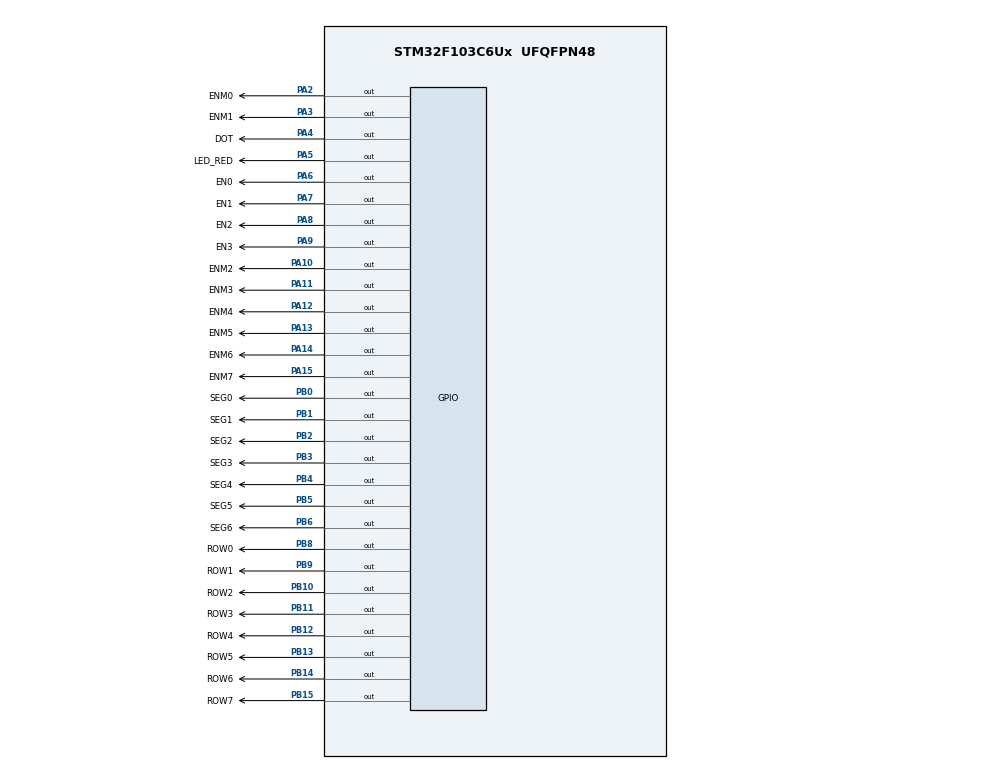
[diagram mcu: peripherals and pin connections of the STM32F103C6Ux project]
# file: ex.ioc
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Mcu.Family=STM32F1
Mcu.Name=STM32F103C6Ux
Mcu.Package=UFQFPN48
NVIC.PriorityGroup=NVIC_PRIORITYGROUP_4
NVIC.TIM2_IRQn=true\:0\:0\:false\:false\:true\:true\:true
PA10.GPIO_Label=ENM2
PA10.Signal=GPIO_Output
PA11.GPIO_Label=ENM3
PA11.Signal=GPIO_Output
PA12.GPIO_Label=ENM4
PA12.Signal=GPIO_Output
PA13.GPIO_Label=ENM5
PA13.Signal=GPIO_Output
PA14.GPIO_Label=ENM6
PA14.Signal=GPIO_Output
PA15.GPIO_Label=ENM7
PA15.Signal=GPIO_Output
PA2.GPIO_Label=ENM0
PA2.Signal=GPIO_Output
PA3.GPIO_Label=ENM1
PA3.Signal=GPIO_Output
PA4.GPIO_Label=DOT
PA4.Signal=GPIO_Output
PA5.GPIO_Label=LED_RED
PA5.Signal=GPIO_Output
PA6.GPIO_Label=EN0
PA6.Signal=GPIO_Output
PA7.GPIO_Label=EN1
PA7.Signal=GPIO_Output
PA8.GPIO_Label=EN2
PA8.Signal=GPIO_Output
PA9.GPIO_Label=EN3
PA9.Signal=GPIO_Output
PB0.GPIO_Label=SEG0
PB0.Signal=GPIO_Output
PB1.GPIO_Label=SEG1
PB1.Signal=GPIO_Output
PB10.GPIO_Label=ROW2
PB10.Signal=GPIO_Output
PB11.GPIO_Label=ROW3
PB11.Signal=GPIO_Output
PB12.GPIO_Label=ROW4
PB12.Signal=GPIO_Output
PB13.GPIO_Label=ROW5
PB13.Signal=GPIO_Output
PB14.GPIO_Label=ROW6
PB14.Signal=GPIO_Output
PB15.GPIO_Label=ROW7
PB15.Signal=GPIO_Output
PB2.GPIO_Label=SEG2
PB2.Signal=GPIO_Output
PB3.GPIO_Label=SEG3
PB3.Signal=GPIO_Output
PB4.GPIO_Label=SEG4
PB4.Signal=GPIO_Output
PB5.GPIO_Label=SEG5
PB5.Signal=GPIO_Output
PB6.GPIO_Label=SEG6
PB6.Signal=GPIO_Output
PB8.GPIO_Label=ROW0
PB8.Signal=GPIO_Output
PB9.GPIO_Label=ROW1
PB9.Signal=GPIO_Output
ProjectManager.HeapSize=0x200
ProjectManager.StackSize=0x400
ProjectManager.TargetToolchain=STM32CubeIDE
RCC.APB1Freq_Value=8000000
RCC.APB2Freq_Value=8000000
TIM2.Period=9
TIM2.Prescaler=7999
VP_SYS_VS_ND.Mode=No_Debug
VP_TIM2_VS_ClockSourceINT.Mode=Internal
board=custom

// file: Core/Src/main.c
/* USER CODE BEGIN Header */
/**
  ******************************************************************************
  * @file           : main.c
  * @brief          : Main program body
  ******************************************************************************
  * @attention
  *
  * <h2><center>&copy; Copyright (c) 2023 STMicroelectronics.
  * All rights reserved.</center></h2>
  *
  * This software component is licensed by ST under BSD 3-Clause license,
  * the "License"; You may not use this file except in compliance with the
  * License. You may obtain a copy of the License at:
  *                        opensource.org/licenses/BSD-3-Clause
  *
  ******************************************************************************
  */
/* USER CODE END Header */
#include "main.h"

TIM_HandleTypeDef htim2;

void SystemClock_Config(void);
static void MX_GPIO_Init(void);
static void MX_TIM2_Init(void);

int main(void)
{

  /* MCU Configuration--------------------------------------------------------*/

  /* Reset of all peripherals, Initializes the Flash interface and the Systick. */
  HAL_Init();

  /* Configure the system clock */
  SystemClock_Config();

  /* Initialize all configured peripherals */
  MX_GPIO_Init();
  MX_TIM2_Init();
  /* USER CODE BEGIN 2 */
  HAL_TIM_Base_Start_IT(&htim2);
  /* USER CODE END 2 */

  /* Infinite loop */
  while (1)
  {

  }
}

void SystemClock_Config(void)
{
  RCC_OscInitTypeDef RCC_OscInitStruct = {0};
  RCC_ClkInitTypeDef RCC_ClkInitStruct = {0};

  /** Initializes the RCC Oscillators according to the specified parameters
  * in the RCC_OscInitTypeDef structure.
  */
  RCC_OscInitStruct.OscillatorType = RCC_OSCILLATORTYPE_HSI;
  RCC_OscInitStruct.HSIState = RCC_HSI_ON;
  RCC_OscInitStruct.HSICalibrationValue = RCC_HSICALIBRATION_DEFAULT;
  RCC_OscInitStruct.PLL.PLLState = RCC_PLL_NONE;
  if (HAL_RCC_OscConfig(&RCC_OscInitStruct) != HAL_OK)
  {
    Error_Handler();
  }
  /** Initializes the CPU, AHB and APB buses clocks
  */
  RCC_ClkInitStruct.ClockType = RCC_CLOCKTYPE_HCLK|RCC_CLOCKTYPE_SYSCLK
                              |RCC_CLOCKTYPE_PCLK1|RCC_CLOCKTYPE_PCLK2;
  RCC_ClkInitStruct.SYSCLKSource = RCC_SYSCLKSOURCE_HSI;
  RCC_ClkInitStruct.AHBCLKDivider = RCC_SYSCLK_DIV1;
  RCC_ClkInitStruct.APB1CLKDivider = RCC_HCLK_DIV1;
  RCC_ClkInitStruct.APB2CLKDivider = RCC_HCLK_DIV1;

  if (HAL_RCC_ClockConfig(&RCC_ClkInitStruct, FLASH_LATENCY_0) != HAL_OK)
  {
    Error_Handler();
  }
}

static void MX_TIM2_Init(void)
{

  TIM_ClockConfigTypeDef sClockSourceConfig = {0};
  TIM_MasterConfigTypeDef sMasterConfig = {0};

  htim2.Instance = TIM2;
  htim2.Init.Prescaler = 7999;
  htim2.Init.CounterMode = TIM_COUNTERMODE_UP;
  htim2.Init.Period = 9;
  htim2.Init.ClockDivision = TIM_CLOCKDIVISION_DIV1;
  htim2.Init.AutoReloadPreload = TIM_AUTORELOAD_PRELOAD_DISABLE;
  if (HAL_TIM_Base_Init(&htim2) != HAL_OK)
  {
    Error_Handler();
  }
  sClockSourceConfig.ClockSource = TIM_CLOCKSOURCE_INTERNAL;
  if (HAL_TIM_ConfigClockSource(&htim2, &sClockSourceConfig) != HAL_OK)
  {
    Error_Handler();
  }
  sMasterConfig.MasterOutputTrigger = TIM_TRGO_RESET;
  sMasterConfig.MasterSlaveMode = TIM_MASTERSLAVEMODE_DISABLE;
  if (HAL_TIMEx_MasterConfigSynchronization(&htim2, &sMasterConfig) != HAL_OK)
  {
    Error_Handler();
  }

}

static void MX_GPIO_Init(void)
{
  GPIO_InitTypeDef GPIO_InitStruct = {0};

  /* GPIO Ports Clock Enable */
  __HAL_RCC_GPIOA_CLK_ENABLE();
  __HAL_RCC_GPIOB_CLK_ENABLE();

  /*Configure GPIO pin Output Level */
  HAL_GPIO_WritePin(GPIOA, LED_RED_Pin|EN0_Pin|EN1_Pin, GPIO_PIN_RESET);

  /*Configure GPIO pin Output Level */
  HAL_GPIO_WritePin(GPIOB, SEG0_Pin|SEG1_Pin|SEG2_Pin|SEG3_Pin
                          |SEG4_Pin|SEG5_Pin|SEG6_Pin, GPIO_PIN_RESET);

  /*Configure GPIO pins : LED_RED_Pin EN0_Pin EN1_Pin */
  GPIO_InitStruct.Pin = LED_RED_Pin|EN0_Pin|EN1_Pin;
  GPIO_InitStruct.Mode = GPIO_MODE_OUTPUT_PP;
  GPIO_InitStruct.Pull = GPIO_NOPULL;
  GPIO_InitStruct.Speed = GPIO_SPEED_FREQ_LOW;
  HAL_GPIO_Init(GPIOA, &GPIO_InitStruct);

  /*Configure GPIO pins : SEG0_Pin SEG1_Pin SEG2_Pin SEG3_Pin
                           SEG4_Pin SEG5_Pin SEG6_Pin */
  GPIO_InitStruct.Pin = SEG0_Pin|SEG1_Pin|SEG2_Pin|SEG3_Pin
                          |SEG4_Pin|SEG5_Pin|SEG6_Pin;
  GPIO_InitStruct.Mode = GPIO_MODE_OUTPUT_PP;
  GPIO_InitStruct.Pull = GPIO_NOPULL;
  GPIO_InitStruct.Speed = GPIO_SPEED_FREQ_LOW;
  HAL_GPIO_Init(GPIOB, &GPIO_InitStruct);

}

/* USER CODE BEGIN 4 */
int counter = 100;
int count_switch = 50;
int flag =0;
void display7SEG(int num)
{
	  switch (num) {
		case 0:
			HAL_GPIO_WritePin(SEG0_GPIO_Port, SEG0_Pin, RESET);
			HAL_GPIO_WritePin(SEG1_GPIO_Port, SEG1_Pin, RESET);
			HAL_GPIO_WritePin(SEG2_GPIO_Port, SEG2_Pin, RESET);
			HAL_GPIO_WritePin(SEG3_GPIO_Port, SEG3_Pin, RESET);
			HAL_GPIO_WritePin(SEG4_GPIO_Port, SEG4_Pin, RESET);
			HAL_GPIO_WritePin(SEG5_GPIO_Port, SEG5_Pin, RESET);
			HAL_GPIO_WritePin(SEG6_GPIO_Port, SEG6_Pin, SET);
			break;
		case 1:
			HAL_GPIO_WritePin(SEG0_GPIO_Port, SEG0_Pin, SET);
			HAL_GPIO_WritePin(SEG1_GPIO_Port, SEG1_Pin, RESET);
			HAL_GPIO_WritePin(SEG2_GPIO_Port, SEG2_Pin, RESET);
			HAL_GPIO_WritePin(SEG3_GPIO_Port, SEG3_Pin, SET);
			HAL_GPIO_WritePin(SEG4_GPIO_Port, SEG4_Pin, SET);
			HAL_GPIO_WritePin(SEG5_GPIO_Port, SEG5_Pin, SET);
			HAL_GPIO_WritePin(SEG6_GPIO_Port, SEG6_Pin, SET);
			break;
		case 2:
			HAL_GPIO_WritePin(SEG0_GPIO_Port, SEG0_Pin, RESET);
			HAL_GPIO_WritePin(SEG1_GPIO_Port, SEG1_Pin, RESET);
			HAL_GPIO_WritePin(SEG2_GPIO_Port, SEG2_Pin, SET);
			HAL_GPIO_WritePin(SEG3_GPIO_Port, SEG3_Pin, RESET);
			HAL_GPIO_WritePin(SEG4_GPIO_Port, SEG4_Pin, RESET);
			HAL_GPIO_WritePin(SEG5_GPIO_Port, SEG5_Pin, SET);
			HAL_GPIO_WritePin(SEG6_GPIO_Port, SEG6_Pin, RESET);
			break;
		case 3:
			HAL_GPIO_WritePin(SEG0_GPIO_Port, SEG0_Pin, RESET);
			HAL_GPIO_WritePin(SEG1_GPIO_Port, SEG1_Pin, RESET);
			HAL_GPIO_WritePin(SEG2_GPIO_Port, SEG2_Pin, RESET);
			HAL_GPIO_WritePin(SEG3_GPIO_Port, SEG3_Pin, RESET);
			HAL_GPIO_WritePin(SEG4_GPIO_Port, SEG4_Pin, SET);
			HAL_GPIO_WritePin(SEG5_GPIO_Port, SEG5_Pin, SET);
			HAL_GPIO_WritePin(SEG6_GPIO_Port, SEG6_Pin, RESET);
			break;
		case 4:
			HAL_GPIO_WritePin(SEG0_GPIO_Port, SEG0_Pin, SET);
			HAL_GPIO_WritePin(SEG1_GPIO_Port, SEG1_Pin, RESET);
			HAL_GPIO_WritePin(SEG2_GPIO_Port, SEG2_Pin, RESET);
			HAL_GPIO_WritePin(SEG3_GPIO_Port, SEG3_Pin, SET);
			HAL_GPIO_WritePin(SEG4_GPIO_Port, SEG4_Pin, SET);
			HAL_GPIO_WritePin(SEG5_GPIO_Port, SEG5_Pin, RESET);
			HAL_GPIO_WritePin(SEG6_GPIO_Port, SEG6_Pin, RESET);
			break;
		case 5:
			HAL_GPIO_WritePin(SEG0_GPIO_Port, SEG0_Pin, RESET);
			HAL_GPIO_WritePin(SEG1_GPIO_Port, SEG1_Pin, SET);
			HAL_GPIO_WritePin(SEG2_GPIO_Port, SEG2_Pin, RESET);
			HAL_GPIO_WritePin(SEG3_GPIO_Port, SEG3_Pin, RESET);
			HAL_GPIO_WritePin(SEG4_GPIO_Port, SEG4_Pin, SET);
			HAL_GPIO_WritePin(SEG5_GPIO_Port, SEG5_Pin, RESET);
			HAL_GPIO_WritePin(SEG6_GPIO_Port, SEG6_Pin, RESET);
			break;
		case 6:
			HAL_GPIO_WritePin(SEG0_GPIO_Port, SEG0_Pin, RESET);
			HAL_GPIO_WritePin(SEG1_GPIO_Port, SEG1_Pin, SET);
			HAL_GPIO_WritePin(SEG2_GPIO_Port, SEG2_Pin, RESET);
			HAL_GPIO_WritePin(SEG3_GPIO_Port, SEG3_Pin, RESET);
			HAL_GPIO_WritePin(SEG4_GPIO_Port, SEG4_Pin, RESET);
			HAL_GPIO_WritePin(SEG5_GPIO_Port, SEG5_Pin, RESET);
			HAL_GPIO_WritePin(SEG6_GPIO_Port, SEG6_Pin, SET);
			break;
		case 7:
			HAL_GPIO_WritePin(SEG0_GPIO_Port, SEG0_Pin, RESET);
			HAL_GPIO_WritePin(SEG1_GPIO_Port, SEG1_Pin, RESET);
			HAL_GPIO_WritePin(SEG2_GPIO_Port, SEG2_Pin, RESET);
			HAL_GPIO_WritePin(SEG3_GPIO_Port, SEG3_Pin, SET);
			HAL_GPIO_WritePin(SEG4_GPIO_Port, SEG4_Pin, SET);
			HAL_GPIO_WritePin(SEG5_GPIO_Port, SEG5_Pin, SET);
			HAL_GPIO_WritePin(SEG6_GPIO_Port, SEG6_Pin, SET);
			break;
		case 8:
			HAL_GPIO_WritePin(SEG0_GPIO_Port, SEG0_Pin, RESET);
			HAL_GPIO_WritePin(SEG1_GPIO_Port, SEG1_Pin, RESET);
			HAL_GPIO_WritePin(SEG2_GPIO_Port, SEG2_Pin, RESET);
			HAL_GPIO_WritePin(SEG3_GPIO_Port, SEG3_Pin, RESET);
			HAL_GPIO_WritePin(SEG4_GPIO_Port, SEG4_Pin, RESET);
			HAL_GPIO_WritePin(SEG5_GPIO_Port, SEG5_Pin, RESET);
			HAL_GPIO_WritePin(SEG6_GPIO_Port, SEG6_Pin, RESET);
			break;
		case 9:
			HAL_GPIO_WritePin(SEG0_GPIO_Port, SEG0_Pin, RESET);
			HAL_GPIO_WritePin(SEG1_GPIO_Port, SEG1_Pin, RESET);
			HAL_GPIO_WritePin(SEG2_GPIO_Port, SEG2_Pin, RESET);
			HAL_GPIO_WritePin(SEG3_GPIO_Port, SEG3_Pin, RESET);
			HAL_GPIO_WritePin(SEG4_GPIO_Port, SEG4_Pin, SET);
			HAL_GPIO_WritePin(SEG5_GPIO_Port, SEG5_Pin, RESET);
			HAL_GPIO_WritePin(SEG6_GPIO_Port, SEG6_Pin, RESET);
			break;
		default:

			break;
	}
}
void HAL_TIM_PeriodElapsedCallback(TIM_HandleTypeDef *htim)
{
	counter--;
	if(counter <= 0){
		counter = 100;
		HAL_GPIO_TogglePin(LED_RED_GPIO_Port, LED_RED_Pin);
	}

	count_switch--;
	if(count_switch <=0){
		count_switch =50;
		if(flag == 0){
			HAL_GPIO_WritePin(EN0_GPIO_Port, EN0_Pin, RESET);
			HAL_GPIO_WritePin(EN1_GPIO_Port, EN1_Pin, SET);
			display7SEG(1);
			flag = 1;
		}else{
			HAL_GPIO_WritePin(EN0_GPIO_Port, EN0_Pin, SET);
			HAL_GPIO_WritePin(EN1_GPIO_Port, EN1_Pin, RESET);
			display7SEG(2);
			flag = 0;
		}
	}
}
/* USER CODE END 4 */

void Error_Handler(void)
{
  __disable_irq();
  while (1)
  {
  }
}

/************************ (C) COPYRIGHT STMicroelectronics *****END OF FILE****/
